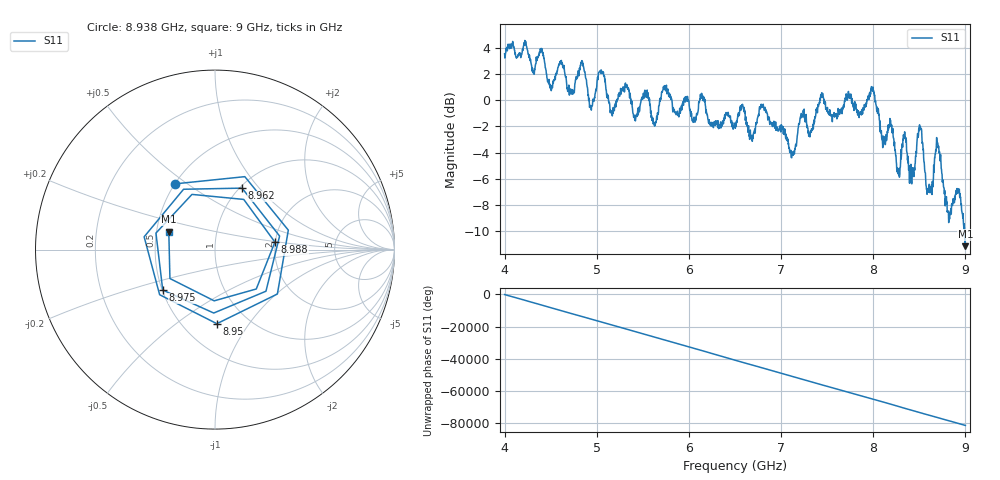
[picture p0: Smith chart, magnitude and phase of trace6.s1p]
! Created with skrf 1.8.0 (http://scikit-rf.org).
# Hz S RI R 50.0
!freq ReS11 ImS11
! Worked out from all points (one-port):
!   1601 points, 4 GHz to 9 GHz, reference 50 ohm
!   lowest |S11| = -11.2 dB at 9 GHz (marker M1), VSWR 1.76, Z = 29 + j6.27 ohm
!   |S11| at or under -10 dB: 8.991144 GHz to end of sweep
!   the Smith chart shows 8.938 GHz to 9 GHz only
!   S11 on the Smith chart (normalised r, x): 8.938 GHz: 0.50, +0.45; 8.95 GHz: 0.72, -0.72; 8.962 GHz: 1.03, +0.82; 8.975 GHz: 0.50, -0.26; 8.988 GHz: 1.99, +0.19; 9 GHz: 0.58, +0.13
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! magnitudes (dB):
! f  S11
! 4 GHz  3.6
! 4.625 GHz  2.7
! 4.725 GHz  0.6
! 4.847 GHz  2.7
! 4.938 GHz  -0.5
! 5.044 GHz  2.1
! 5.166 GHz  -1.0
! 5.25 GHz  0.6
! 5.875 GHz  -0.8
! 6.5 GHz  -1.7
! 6.803 GHz  -0.5
! 7.125 GHz  -4.2
! 7.231 GHz  -1.3
! 7.75 GHz  0.2
! 7.994 GHz  0.8
! 8.269 GHz  -5.5
! 8.375 GHz  -4.3
! 8.425 GHz  -5.8
! 8.503 GHz  -1.9
! 8.597 GHz  -7.0
! 8.697 GHz  -3.3
! 8.822 GHz  -8.7
! 8.938 GHz  -7.4
! 8.95 GHz  -7.7
! 8.962 GHz  -8.5
! 8.975 GHz  -8.7
! 8.988 GHz  -9.5
! 9 GHz  -11.2
